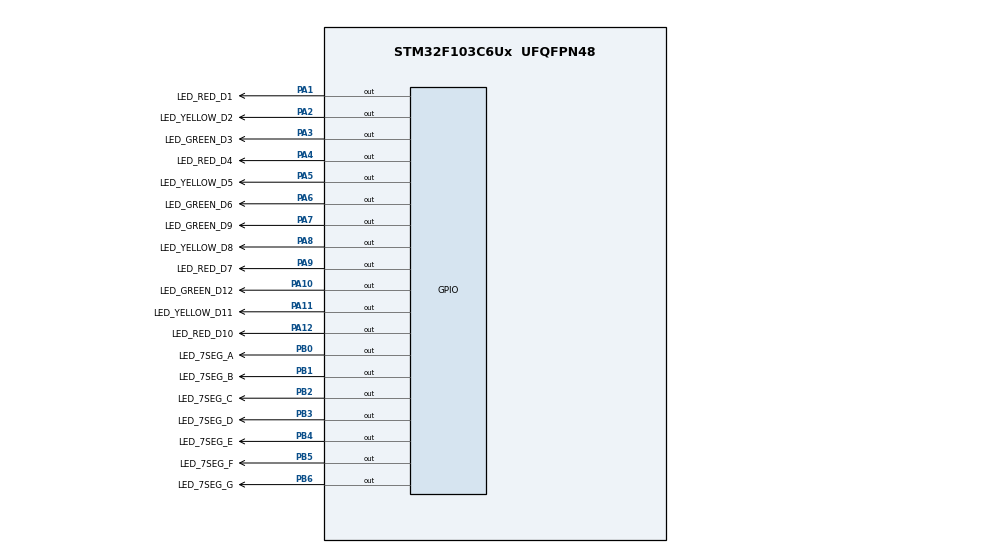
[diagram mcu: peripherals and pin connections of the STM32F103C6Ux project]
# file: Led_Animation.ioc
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Mcu.Family=STM32F1
Mcu.Name=STM32F103C6Ux
Mcu.Package=UFQFPN48
NVIC.PriorityGroup=NVIC_PRIORITYGROUP_4
PA1.GPIO_Label=LED_RED_D1
PA1.Signal=GPIO_Output
PA10.GPIO_Label=LED_GREEN_D12
PA10.Signal=GPIO_Output
PA11.GPIO_Label=LED_YELLOW_D11
PA11.Signal=GPIO_Output
PA12.GPIO_Label=LED_RED_D10
PA12.Signal=GPIO_Output
PA2.GPIO_Label=LED_YELLOW_D2
PA2.Signal=GPIO_Output
PA3.GPIO_Label=LED_GREEN_D3
PA3.Signal=GPIO_Output
PA4.GPIO_Label=LED_RED_D4
PA4.Signal=GPIO_Output
PA5.GPIO_Label=LED_YELLOW_D5
PA5.Signal=GPIO_Output
PA6.GPIO_Label=LED_GREEN_D6
PA6.Signal=GPIO_Output
PA7.GPIO_Label=LED_GREEN_D9
PA7.Signal=GPIO_Output
PA8.GPIO_Label=LED_YELLOW_D8
PA8.Signal=GPIO_Output
PA9.GPIO_Label=LED_RED_D7
PA9.Signal=GPIO_Output
PB0.GPIO_Label=LED_7SEG_A
PB0.Signal=GPIO_Output
PB1.GPIO_Label=LED_7SEG_B
PB1.Signal=GPIO_Output
PB2.GPIO_Label=LED_7SEG_C
PB2.Signal=GPIO_Output
PB3.GPIO_Label=LED_7SEG_D
PB3.Signal=GPIO_Output
PB4.GPIO_Label=LED_7SEG_E
PB4.Signal=GPIO_Output
PB5.GPIO_Label=LED_7SEG_F
PB5.Signal=GPIO_Output
PB6.GPIO_Label=LED_7SEG_G
PB6.Signal=GPIO_Output
ProjectManager.HeapSize=0x200
ProjectManager.StackSize=0x400
ProjectManager.TargetToolchain=STM32CubeIDE
RCC.APB1Freq_Value=8000000
RCC.APB2Freq_Value=8000000
VP_SYS_VS_ND.Mode=No_Debug
board=custom

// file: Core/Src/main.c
/* USER CODE BEGIN Header */
/**
  ******************************************************************************
  * @file           : main.c
  * @brief          : Main program body
  ******************************************************************************
  * @attention
  *
  * <h2><center>&copy; Copyright (c) 2022 STMicroelectronics.
  * All rights reserved.</center></h2>
  *
  * This software component is licensed by ST under BSD 3-Clause license,
  * the "License"; You may not use this file except in compliance with the
  * License. You may obtain a copy of the License at:
  *                        opensource.org/licenses/BSD-3-Clause
  *
  ******************************************************************************
  */
/* USER CODE END Header */
#include "main.h"

void SystemClock_Config(void);
static void MX_GPIO_Init(void);

int main(void)
{

  /* MCU Configuration--------------------------------------------------------*/

  /* Reset of all peripherals, Initializes the Flash interface and the Systick. */
  HAL_Init();

  /* Configure the system clock */
  SystemClock_Config();

  /* Initialize all configured peripherals */
  MX_GPIO_Init();

  /* Infinite loop */
  /* USER CODE BEGIN WHILE */
void LED_7SEG_MODE(int a, int b, int c, int d, int e, int f, int g){
	HAL_GPIO_WritePin ( LED_7SEG_A_GPIO_Port , LED_7SEG_A_Pin, a );
	HAL_GPIO_WritePin ( LED_7SEG_B_GPIO_Port , LED_7SEG_B_Pin, b );
	HAL_GPIO_WritePin ( LED_7SEG_C_GPIO_Port , LED_7SEG_C_Pin, c );
	HAL_GPIO_WritePin ( LED_7SEG_D_GPIO_Port , LED_7SEG_D_Pin, d );
	HAL_GPIO_WritePin ( LED_7SEG_E_GPIO_Port , LED_7SEG_E_Pin, e );
	HAL_GPIO_WritePin ( LED_7SEG_F_GPIO_Port , LED_7SEG_F_Pin, f );
	HAL_GPIO_WritePin ( LED_7SEG_G_GPIO_Port , LED_7SEG_G_Pin, g );
}
  void  display7SEG(int num){
	  switch(num){
	  	  case 0:
	  		LED_7SEG_MODE(0,0,0,0,0,0,1);
	  		break;
	  	  case 1:
	  		LED_7SEG_MODE(1,0,0,1,1,1,1);
	  		break;
	  	  case 2:
	  		LED_7SEG_MODE(0,0,1,0,0,1,0);
			break;
	  	  case 3:
	  		LED_7SEG_MODE(0,0,0,0,1,1,0);
			break;
	  	  case 4:
	  		LED_7SEG_MODE(1,0,0,1,1,0,0);
	  		break;
	  	  case 5:
	  		LED_7SEG_MODE(0,1,0,0,1,0,0);
	  		break;
	  	  case 6:
	  		LED_7SEG_MODE(0,1,0,0,0,0,0);
	  		break;
	  	  case 7:
	  		LED_7SEG_MODE(0,0,0,1,1,1,1);
	  		break;
	  	  case 8:
	  		LED_7SEG_MODE(0,0,0,0,0,0,0);
	  		break;
	  	  case 9:
	  		LED_7SEG_MODE(0,0,0,0,1,0,0);
	  		break;
	  }
  }
  void LED_D1_to_D12(int red, int yellow, int green){
	  HAL_GPIO_WritePin(LED_RED_D1_GPIO_Port, LED_RED_D1_Pin, red);
	  HAL_GPIO_WritePin(LED_YELLOW_D2_GPIO_Port, LED_YELLOW_D2_Pin, yellow);
	  HAL_GPIO_WritePin(LED_GREEN_D3_GPIO_Port, LED_GREEN_D3_Pin, green);
	  HAL_GPIO_WritePin(LED_RED_D4_GPIO_Port, LED_RED_D4_Pin, red);
	  HAL_GPIO_WritePin(LED_YELLOW_D5_GPIO_Port, LED_YELLOW_D5_Pin, yellow);
	  HAL_GPIO_WritePin(LED_GREEN_D6_GPIO_Port, LED_GREEN_D6_Pin, green);
	  HAL_GPIO_WritePin(LED_RED_D7_GPIO_Port, LED_RED_D7_Pin, red);
	  HAL_GPIO_WritePin(LED_YELLOW_D8_GPIO_Port, LED_YELLOW_D8_Pin, yellow);
	  HAL_GPIO_WritePin(LED_GREEN_D9_GPIO_Port, LED_GREEN_D9_Pin, green);
	  HAL_GPIO_WritePin(LED_RED_D10_GPIO_Port, LED_RED_D10_Pin, red);
	  HAL_GPIO_WritePin(LED_YELLOW_D11_GPIO_Port, LED_YELLOW_D11_Pin, yellow);
	  HAL_GPIO_WritePin(LED_GREEN_D12_GPIO_Port, LED_GREEN_D12_Pin, green);
  }

  void clearAllCLock(){
	  HAL_GPIO_WritePin(LED_RED_D1_GPIO_Port, LED_RED_D1_Pin, 1);
	  HAL_GPIO_WritePin(LED_YELLOW_D2_GPIO_Port, LED_YELLOW_D2_Pin, 1);
	  HAL_GPIO_WritePin(LED_GREEN_D3_GPIO_Port, LED_GREEN_D3_Pin, 1);
	  HAL_GPIO_WritePin(LED_RED_D4_GPIO_Port, LED_RED_D4_Pin, 1);
	  HAL_GPIO_WritePin(LED_YELLOW_D5_GPIO_Port, LED_YELLOW_D5_Pin, 1);
	  HAL_GPIO_WritePin(LED_GREEN_D6_GPIO_Port, LED_GREEN_D6_Pin, 1);
	  HAL_GPIO_WritePin(LED_RED_D7_GPIO_Port, LED_RED_D7_Pin, 1);
	  HAL_GPIO_WritePin(LED_YELLOW_D8_GPIO_Port, LED_YELLOW_D8_Pin, 1);
	  HAL_GPIO_WritePin(LED_GREEN_D9_GPIO_Port, LED_GREEN_D9_Pin, 1);
	  HAL_GPIO_WritePin(LED_RED_D10_GPIO_Port, LED_RED_D10_Pin, 1);
	  HAL_GPIO_WritePin(LED_YELLOW_D11_GPIO_Port, LED_YELLOW_D11_Pin, 1);
	  HAL_GPIO_WritePin(LED_GREEN_D12_GPIO_Port, LED_GREEN_D12_Pin, 1);
  }
  void setNumberOnClock(int num){
	  switch(num){
	  	  case 0:
	  		HAL_GPIO_WritePin(LED_RED_D1_GPIO_Port, LED_RED_D1_Pin, 0);
	  	  case 1:
			  HAL_GPIO_WritePin(LED_YELLOW_D2_GPIO_Port, LED_YELLOW_D2_Pin, 0);
	  	  case 2:
			  HAL_GPIO_WritePin(LED_GREEN_D3_GPIO_Port, LED_GREEN_D3_Pin, 0);
	  	  case 3:
			  HAL_GPIO_WritePin(LED_RED_D4_GPIO_Port, LED_RED_D4_Pin, 0);
	  	  case 4:
			  HAL_GPIO_WritePin(LED_YELLOW_D5_GPIO_Port, LED_YELLOW_D5_Pin, 0);
	  	  case 5:
			  HAL_GPIO_WritePin(LED_GREEN_D6_GPIO_Port, LED_GREEN_D6_Pin, 0);
	  	  case 6:
			  HAL_GPIO_WritePin(LED_RED_D7_GPIO_Port, LED_RED_D7_Pin, 0);
	  	  case 7:
			  HAL_GPIO_WritePin(LED_YELLOW_D8_GPIO_Port, LED_YELLOW_D8_Pin, 0);
	  	  case 8:
			  HAL_GPIO_WritePin(LED_GREEN_D9_GPIO_Port, LED_GREEN_D9_Pin, 0);
	  	  case 9:
			  HAL_GPIO_WritePin(LED_RED_D10_GPIO_Port, LED_RED_D10_Pin, 0);
	  	  case 10:
			  HAL_GPIO_WritePin(LED_YELLOW_D11_GPIO_Port, LED_YELLOW_D11_Pin, 0);
	  	  case 11:
			  HAL_GPIO_WritePin(LED_GREEN_D12_GPIO_Port, LED_GREEN_D12_Pin, 0);
	  }
  }
  void clearNumberOnClock(int num){
	  switch(num){
	  	  case 0:
	  		HAL_GPIO_WritePin(LED_RED_D1_GPIO_Port, LED_RED_D1_Pin, 1);
	  	  case 1:
			  HAL_GPIO_WritePin(LED_YELLOW_D2_GPIO_Port, LED_YELLOW_D2_Pin, 1);
	  	  case 2:
			  HAL_GPIO_WritePin(LED_GREEN_D3_GPIO_Port, LED_GREEN_D3_Pin, 1);
	  	  case 3:
			  HAL_GPIO_WritePin(LED_RED_D4_GPIO_Port, LED_RED_D4_Pin, 1);
	  	  case 4:
			  HAL_GPIO_WritePin(LED_YELLOW_D5_GPIO_Port, LED_YELLOW_D5_Pin, 1);
	  	  case 5:
			  HAL_GPIO_WritePin(LED_GREEN_D6_GPIO_Port, LED_GREEN_D6_Pin, 1);
	  	  case 6:
			  HAL_GPIO_WritePin(LED_RED_D7_GPIO_Port, LED_RED_D7_Pin, 1);
	  	  case 7:
			  HAL_GPIO_WritePin(LED_YELLOW_D8_GPIO_Port, LED_YELLOW_D8_Pin, 1);
	  	  case 8:
			  HAL_GPIO_WritePin(LED_GREEN_D9_GPIO_Port, LED_GREEN_D9_Pin, 1);
	  	  case 9:
			  HAL_GPIO_WritePin(LED_RED_D10_GPIO_Port, LED_RED_D10_Pin, 1);
	  	  case 10:
			  HAL_GPIO_WritePin(LED_YELLOW_D11_GPIO_Port, LED_YELLOW_D11_Pin, 1);
	  	  case 11:
			  HAL_GPIO_WritePin(LED_GREEN_D12_GPIO_Port, LED_GREEN_D12_Pin, 1);
	  }
  }
  int state = 0;
  int count = 1;
  int counter = 0;
  while (1)
  {
	  LED_D1_to_D12(0, 1 , 1);
	  HAL_Delay(1000);
	  LED_D1_to_D12(1, 0 , 1);
	  HAL_Delay(1000);
	  LED_D1_to_D12(1, 1, 0);
	  HAL_Delay(1000);
	  clearAllCLock();
	  HAL_Delay(1000);
    /* USER CODE END WHILE */

  }
}

void SystemClock_Config(void)
{
  RCC_OscInitTypeDef RCC_OscInitStruct = {0};
  RCC_ClkInitTypeDef RCC_ClkInitStruct = {0};

  /** Initializes the RCC Oscillators according to the specified parameters
  * in the RCC_OscInitTypeDef structure.
  */
  RCC_OscInitStruct.OscillatorType = RCC_OSCILLATORTYPE_HSI;
  RCC_OscInitStruct.HSIState = RCC_HSI_ON;
  RCC_OscInitStruct.HSICalibrationValue = RCC_HSICALIBRATION_DEFAULT;
  RCC_OscInitStruct.PLL.PLLState = RCC_PLL_NONE;
  if (HAL_RCC_OscConfig(&RCC_OscInitStruct) != HAL_OK)
  {
    Error_Handler();
  }
  /** Initializes the CPU, AHB and APB buses clocks
  */
  RCC_ClkInitStruct.ClockType = RCC_CLOCKTYPE_HCLK|RCC_CLOCKTYPE_SYSCLK
                              |RCC_CLOCKTYPE_PCLK1|RCC_CLOCKTYPE_PCLK2;
  RCC_ClkInitStruct.SYSCLKSource = RCC_SYSCLKSOURCE_HSI;
  RCC_ClkInitStruct.AHBCLKDivider = RCC_SYSCLK_DIV1;
  RCC_ClkInitStruct.APB1CLKDivider = RCC_HCLK_DIV1;
  RCC_ClkInitStruct.APB2CLKDivider = RCC_HCLK_DIV1;

  if (HAL_RCC_ClockConfig(&RCC_ClkInitStruct, FLASH_LATENCY_0) != HAL_OK)
  {
    Error_Handler();
  }
}

static void MX_GPIO_Init(void)
{
  GPIO_InitTypeDef GPIO_InitStruct = {0};

  /* GPIO Ports Clock Enable */
  __HAL_RCC_GPIOA_CLK_ENABLE();
  __HAL_RCC_GPIOB_CLK_ENABLE();

  /*Configure GPIO pin Output Level */
  HAL_GPIO_WritePin(GPIOA, LED_RED_D1_Pin|LED_YELLOW_D2_Pin|LED_GREEN_D3_Pin|LED_RED_D4_Pin
                          |LED_YELLOW_D5_Pin|LED_GREEN_D6_Pin|LED_GREEN_D9_Pin|LED_YELLOW_D8_Pin
                          |LED_RED_D7_Pin|LED_GREEN_D12_Pin|LED_YELLOW_D11_Pin|LED_RED_D10_Pin, GPIO_PIN_RESET);

  /*Configure GPIO pin Output Level */
  HAL_GPIO_WritePin(GPIOB, LED_7SEG_A_Pin|LED_7SEG_B_Pin|LED_7SEG_C_Pin|LED_7SEG_D_Pin
                          |LED_7SEG_E_Pin|LED_7SEG_F_Pin|LED_7SEG_G_Pin, GPIO_PIN_RESET);

  /*Configure GPIO pins : LED_RED_D1_Pin LED_YELLOW_D2_Pin LED_GREEN_D3_Pin LED_RED_D4_Pin
                           LED_YELLOW_D5_Pin LED_GREEN_D6_Pin LED_GREEN_D9_Pin LED_YELLOW_D8_Pin
                           LED_RED_D7_Pin LED_GREEN_D12_Pin LED_YELLOW_D11_Pin LED_RED_D10_Pin */
  GPIO_InitStruct.Pin = LED_RED_D1_Pin|LED_YELLOW_D2_Pin|LED_GREEN_D3_Pin|LED_RED_D4_Pin
                          |LED_YELLOW_D5_Pin|LED_GREEN_D6_Pin|LED_GREEN_D9_Pin|LED_YELLOW_D8_Pin
                          |LED_RED_D7_Pin|LED_GREEN_D12_Pin|LED_YELLOW_D11_Pin|LED_RED_D10_Pin;
  GPIO_InitStruct.Mode = GPIO_MODE_OUTPUT_PP;
  GPIO_InitStruct.Pull = GPIO_NOPULL;
  GPIO_InitStruct.Speed = GPIO_SPEED_FREQ_LOW;
  HAL_GPIO_Init(GPIOA, &GPIO_InitStruct);

  /*Configure GPIO pins : LED_7SEG_A_Pin LED_7SEG_B_Pin LED_7SEG_C_Pin LED_7SEG_D_Pin
                           LED_7SEG_E_Pin LED_7SEG_F_Pin LED_7SEG_G_Pin */
  GPIO_InitStruct.Pin = LED_7SEG_A_Pin|LED_7SEG_B_Pin|LED_7SEG_C_Pin|LED_7SEG_D_Pin
                          |LED_7SEG_E_Pin|LED_7SEG_F_Pin|LED_7SEG_G_Pin;
  GPIO_InitStruct.Mode = GPIO_MODE_OUTPUT_PP;
  GPIO_InitStruct.Pull = GPIO_NOPULL;
  GPIO_InitStruct.Speed = GPIO_SPEED_FREQ_LOW;
  HAL_GPIO_Init(GPIOB, &GPIO_InitStruct);

}

void Error_Handler(void)
{
  __disable_irq();
  while (1)
  {
  }
}

/************************ (C) COPYRIGHT STMicroelectronics *****END OF FILE****/
